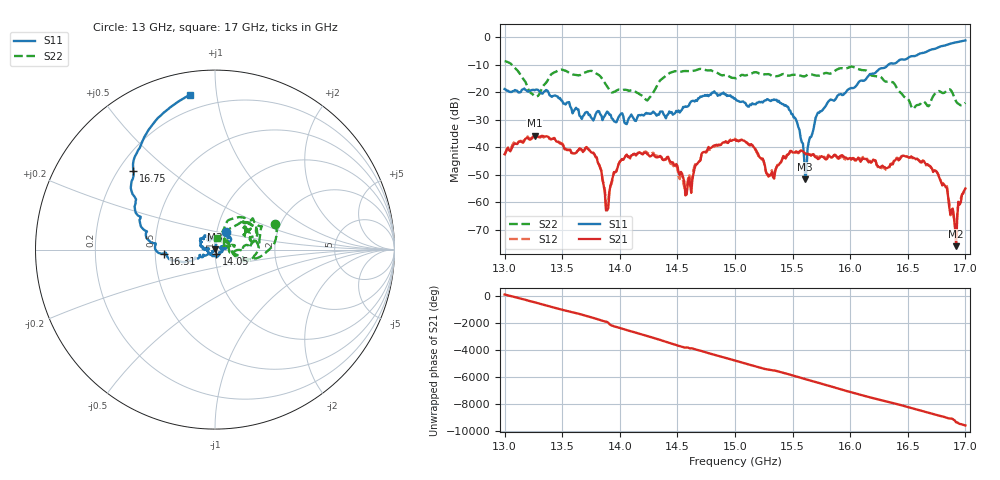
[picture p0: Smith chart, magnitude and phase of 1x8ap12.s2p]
!Keysight Technologies,P9374A,MY57211807,A.19.30.04
!Date: Friday, May 08, 2026 14:33:18
!Correction: S11(C  2-Port  )
!S21(C  2-Port  )
!S12(C  2-Port  )
!S22(C  2-Port  )
!S2P File: Measurements: S11, S21, S12, S22:
# Hz S  dB  R 50
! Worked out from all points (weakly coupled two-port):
!   401 points, 13 GHz to 17 GHz, reference 50 ohm
!   highest |S21| = -35.80 dB at 13.26 GHz (marker M1); lowest = -76.0 dB at 16.92 GHz (marker M2)
!   lowest |S11| = -51.7 dB at 15.61 GHz (marker M3), VSWR 1.01, Z = 49.8 + j0.16 ohm
!   |S11| at or under -10 dB: start of sweep to 16.33 GHz
!   |S22| runs from -26.1 to -8.7 dB; largest |S21 - S12| = 0.0012
!   S11 on the Smith chart (normalised r, x): 13 GHz: 1.11, +0.22; 14.05 GHz: 1.01, -0.05; 16.31 GHz: 0.55, -0.03; 16.75 GHz: 0.26, +0.38; 17 GHz: 0.12, +0.84
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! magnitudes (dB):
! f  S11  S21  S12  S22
! 13 GHz  -18.9  -42.6  -42.9  -8.7
! 13.26 GHz  -19.3  -35.8  -35.7  -21.5
! 13.46 GHz  -21.6  -38.1  -37.7  -12.2
! 13.67 GHz  -29.7  -40.9  -41.3  -13.5
! 13.79 GHz  -28.1  -43.6  -43.4  -13.1
! 13.89 GHz  -27.1  -63.0  -61.0  -17.9
! 14.05 GHz  -31.4  -43.2  -43.2  -19.1
! 14.34 GHz  -28.2  -43.6  -43.2  -16.3
! 14.57 GHz  -25.2  -57.4  -57.6  -12.3
! 14.73 GHz  -21.4  -41.8  -42.0  -11.7
! 15 GHz  -22.3  -37.3  -36.9  -14.9
! 15.29 GHz  -22.8  -50.7  -50.1  -13.4
! 15.44 GHz  -24.7  -44.1  -44.3  -13.6
! 15.61 GHz  -51.7  -42.3  -42.6  -14.2
! 15.67 GHz  -35.2  -42.7  -42.6  -13.6
! 15.82 GHz  -23.0  -43.2  -42.9  -13.3
! 16.31 GHz  -10.8  -47.7  -48.2  -16.2
! 16.34 GHz  -9.7  -47.2  -47.4  -16.2
! 16.55 GHz  -6.9  -43.9  -44.0  -26.1
! 16.75 GHz  -4.0  -48.9  -48.9  -20.1
! 16.92 GHz  -1.9  -76.0  -69.7  -23.4
! 17 GHz  -1.2  -55.1  -55.0  -23.9
